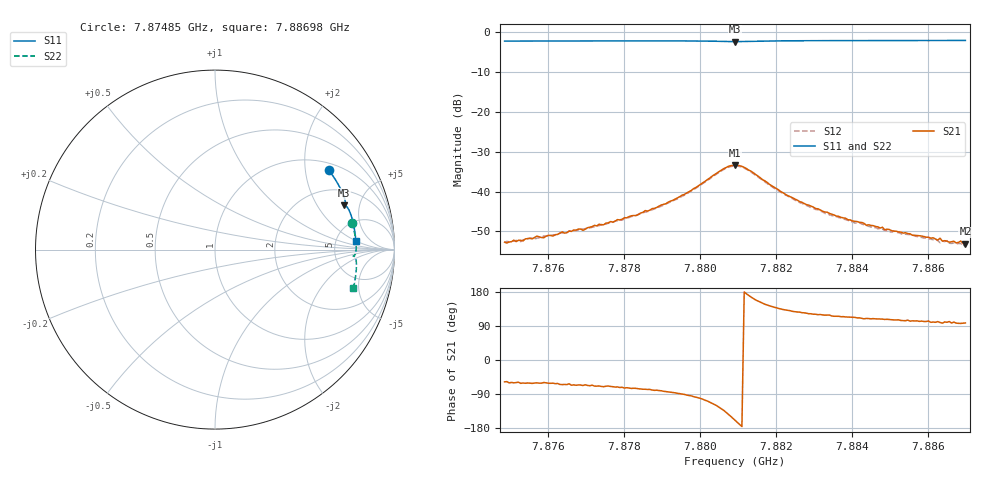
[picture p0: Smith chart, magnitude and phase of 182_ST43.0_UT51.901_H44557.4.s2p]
#  HZ  S  DB  R  50.00
! Rohde & Schwarz Vector Network Analyzer
! Rohde-Schwarz,ZNB20-2Port,1311601062101988,3.16
! Created: UTC 1/12/2023, 6:42:53 PM
! freq[Hz]  db:S11  ang:S11  db:S21  ang:S21  db:S12  ang:S12  db:S22  ang:S22
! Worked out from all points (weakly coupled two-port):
!   201 points, 7.87485 GHz to 7.88698 GHz, reference 50 ohm
!   highest |S21| = -33.38 dB at 7.88092 GHz (marker M1); lowest = -53.0 dB at 7.88698 GHz (marker M2)
!   lowest |S11| = -2.4 dB at 7.88092 GHz (marker M3), VSWR 7.39, Z = 152 + j178 ohm
!   |S11| at or under -10 dB: nowhere
!   |S22| runs from -2.3 to -1.9 dB; largest |S21 - S12| = 0.0014
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7.874852e9  -2.24 34.9  -52.68 -57.6  -52.85 -60.9  -2.18 11.0
7.875883e9  -2.22 32.0  -51.57 -59.5  -51.16 -65.0  -2.15 8.5
7.876793e9  -2.20 29.6  -49.42 -65.8  -49.61 -69.9  -2.12 6.4
7.876914e9  -2.20 29.2  -49.72 -67.4  -49.35 -69.2  -2.11 6.1
7.877945e9  -2.19 26.4  -46.94 -72.0  -47.17 -75.9  -2.10 3.7
7.878915e9  -2.18 23.7  -43.64 -80.7  -43.85 -84.5  -2.09 1.4
7.879643e9  -2.20 21.6  -40.36 -92.5  -40.62 -95.4  -2.09 -0.4
7.880614e9  -2.33 19.0  -34.27 -132.4  -34.48 -136.0  -2.21 -2.6
7.880917e9  -2.36 18.9  -33.38 -158.7  -33.57 -162.2  -2.27 -2.7
7.88122e9  -2.32 18.6  -34.24 174.4  -34.41 171.1  -2.22 -2.8
7.882251e9  -2.17 16.0  -40.72 131.9  -40.90 128.6  -2.05 -4.9
7.882979e9  -2.13 13.9  -43.88 120.9  -44.25 118.4  -2.01 -6.6
7.884374e9  -2.11 10.2  -48.45 109.7  -48.51 106.4  -1.97 -9.8
7.884981e9  -2.10 8.6  -49.53 106.8  -50.01 102.1  -1.96 -11.2
7.886194e9  -2.09 5.4  -51.89 99.5  -51.87 96.6  -1.95 -13.9
7.886315e9  -2.09 5.1  -51.70 99.1  -52.83 95.8  -1.94 -14.1
7.886376e9  -2.09 4.9  -52.43 97.2  -52.40 96.1  -1.95 -14.2
7.886497e9  -2.09 4.6  -52.45 99.6  -52.31 95.7  -1.95 -14.5
7.886558e9  -2.08 4.4  -52.69 101.5  -52.95 94.8  -1.95 -14.6
7.886861e9  -2.08 3.6  -52.40 96.6  -53.02 95.9  -1.94 -15.3
7.886922e9  -2.08 3.5  -53.01 97.1  -53.70 93.2  -1.94 -15.4
7.886982e9  -2.08 3.3  -53.04 97.8  -53.24 96.9  -1.94 -15.6
